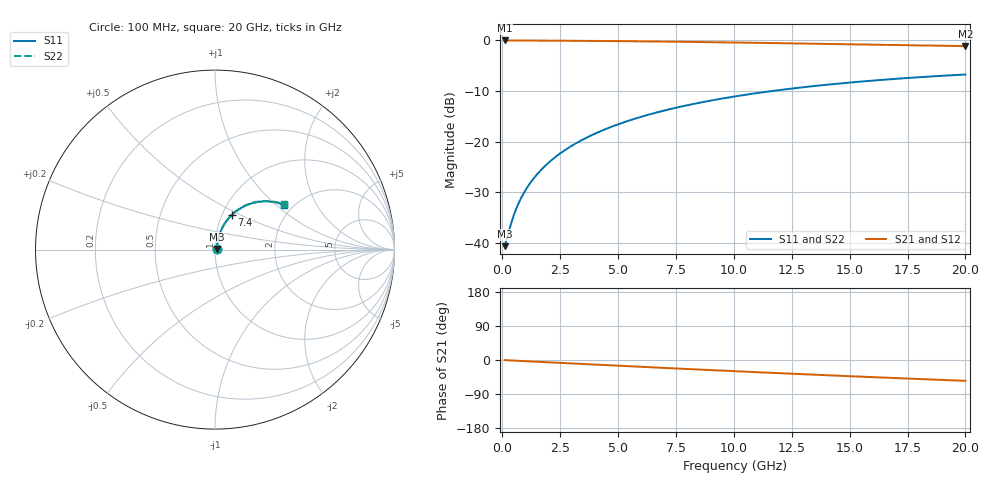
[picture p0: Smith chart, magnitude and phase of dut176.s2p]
! Touchstone file exported from HFSS 2026.1.0
!  File:  C:/ffzhzh/LocalFiles/Ansys_Project_Files/temp_train_BSMRDL_176_1782987101_41620.aedt
!  Generated:  06:13:12 PM Jul  2, 2026
!  Design:  BSMRDL
!  Project:  temp_train_BSMRDL_176_1782987101_41620
! Variables:
!  h_bsmrdl = 2.09um
!  h_ox = 20um
!  h_rdl = 5um
!  h_sub = 80um
!  h_tmrdl = 5um
!  h_tsv = 80um
!  h_via = 3um
!  l_bsmrdl = 857.89um
!  l_sub = 1257.89um
!  l_tmrdl = 200um
!  m_sub = 200um
!  pitch = 35.86um
!  r_tsv = 6um
!  s_tmrdl = 10um
!  w_bsmrdl = 16.88um
!  w_sub = 500um
!  w_tmrdl = 12um
!  x_tsv_center1 = 206um
!  x_tsv_center2 = 1080.77um
!  x_tsv_center3 = 1292.77um
!  x_tsv_center4 = 2167.54um
!  x_tsv_center5 = 2379.54um
!  x_tsv_center6 = 3254.31um
# GHz S MA R 50.000000
! Terminal data exported
! Port[1] = BSM_RDL1_1_T1
! Port[2] = BSM_RDL1_1_T2
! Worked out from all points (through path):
!   200 points, 100 MHz to 20 GHz, reference 50 ohm
!   highest |S21| = -0.08 dB at 100 MHz (marker M1); lowest = -1.2 dB at 20 GHz (marker M2)
!   group delay of S21, straight-line fit = 7.65 ps
!   lowest |S11| = -40.6 dB at 100 MHz (marker M3), VSWR 1.02, Z = 50.9 + j0.339 ohm
!   |S11| at or under -10 dB: start of sweep to 11.71 GHz
!   |S22| runs from -40.6 to -6.8 dB; largest |S21 - S12| = 2.1e-14
!   S11 on the Smith chart (normalised r, x): 100 MHz: 1.02, +0.01; 7.4 GHz: 1.11, +0.45; 20 GHz: 1.80, +1.13
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0.1  0.009326 20.9  0.9913 -0.3  0.9913 -0.3  0.009326 20.9
! Gamma 0 0 0 0
! Port Impedance 50 0 50 0
0.4  0.01613 53.8  0.9907 -1.3  0.9907 -1.3  0.01613 53.8
0.6  0.02176 61.6  0.9901 -1.9  0.9901 -1.9  0.02176 61.6
0.7  0.02462 64.0  0.9898 -2.2  0.9898 -2.2  0.02462 64.0
0.9  0.03033 67.3  0.9893 -2.8  0.9893 -2.8  0.03033 67.3
1.2  0.03892 70.3  0.9886 -3.7  0.9886 -3.7  0.03891 70.3
1.4  0.04466 71.5  0.9882 -4.3  0.9882 -4.3  0.04465 71.5
1.7  0.05329 72.7  0.9875 -5.2  0.9875 -5.2  0.05329 72.7
2.2  0.06775 73.5  0.9864 -6.7  0.9864 -6.7  0.06775 73.6
2.8  0.08513 73.6  0.9848 -8.5  0.9848 -8.5  0.08512 73.6
3.5  0.1053 72.8  0.9826 -10.6  0.9826 -10.6  0.1053 72.9
4.2  0.1253 71.7  0.9801 -12.7  0.9801 -12.7  0.1253 71.8
5  0.1479 70.1  0.9767 -15.1  0.9767 -15.1  0.1479 70.2
5.9  0.1728 68.0  0.9724 -17.7  0.9724 -17.7  0.1728 68.2
6.8  0.1971 65.8  0.9675 -20.4  0.9675 -20.4  0.1971 66.0
7.4  0.2129 64.3  0.964 -22.1  0.964 -22.1  0.2129 64.5
8.7  0.246 60.9  0.9557 -25.8  0.9557 -25.8  0.246 61.2
10.1  0.2798 57.3  0.946 -29.7  0.946 -29.7  0.2798 57.6
11.7  0.3159 53.1  0.9342 -34.1  0.9342 -34.1  0.3159 53.4
13.4  0.3512 48.8  0.9212 -38.6  0.9212 -38.6  0.3511 49.1
16.7  0.4105 40.6  0.8958 -47.0  0.8958 -47.0  0.4104 41.0
20  0.4582 32.8  0.8722 -55.0  0.8722 -55.0  0.4581 33.3
